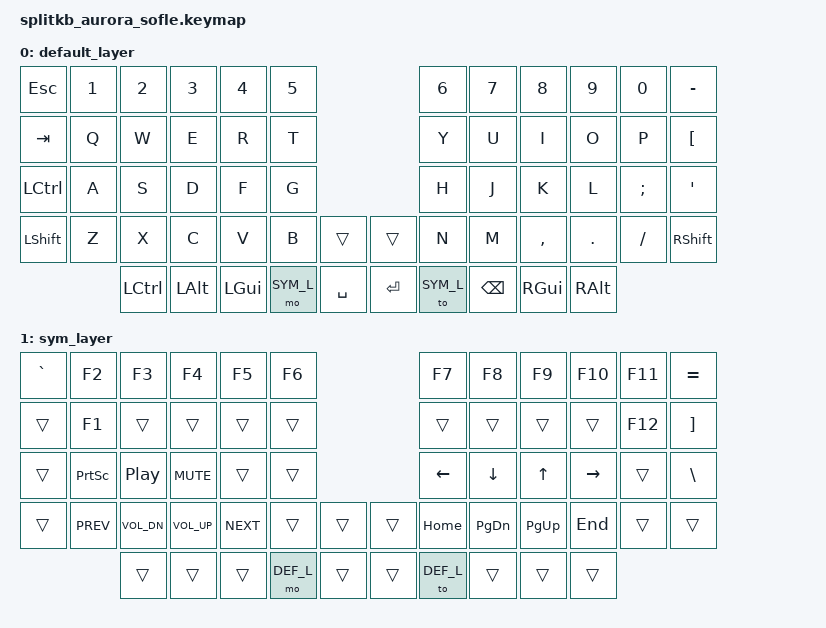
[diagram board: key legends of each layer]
/*
 * Copyright (c) 2023 The ZMK Contributors
 *
 * SPDX-License-Identifier: MIT
 */

#include <behaviors.dtsi>
#include <dt-bindings/zmk/keys.h>
// #include <dt-bindings/zmk/bt.h>
// #include <dt-bindings/zmk/ext_power.h>

/* Uncomment this block if using RGB
&led_strip {
    chain-length = <6>;
    // chain-length = <35>; // Uncomment if using both per-key and underglow LEDs
    // chain-length = <29>; // Uncomment if using only per-key LEDs.
};
 */

#define DEF_L 0
#define SYM_L 1

/ {
    // cond_layers {
    //     compatible = "zmk,conditional-layers";
    //     tri {
    //       if-layers = <NUM_L SYM_L>;
    //       then-layer = <MED_L>;
    //     };
    // };

    keymap {
        compatible = "zmk,keymap";

        default_layer {
// ------------------------------------------------------------------------------------------------------------
// |  ESC  |  1  |  2  |  3   |  4   |  5    |                   |  6    |  7    |  8    |  9   |   0   |   -   |
// |  TAB  |  Q  |  W  |  E   |  R   |  T    |                   |  Y    |  U    |  I    |  O   |   P   |   [   |
// |  CTRL |  A  |  S  |  D   |  F   |  G    |                   |  H    |  J    |  K    |  L   |   ;   |   '   |
// | SHIFT |  Z  |  X  |  C   |  V   |  B    |        |  |       |  N    |  M    |  ,    |  .   |   /   | SHIFT |
//               |CTRL | ALT  | GUI  | SYM_L |  SPACE |  | ENTER | SYM_L | BSPC  | GUI   | RALT |
            bindings = <
&kp ESC   &kp N1 &kp N2    &kp N3   &kp N4   &kp N5                         &kp N6      &kp N7    &kp N8    &kp N9   &kp N0   &kp MINUS
&kp TAB   &kp Q  &kp W     &kp E    &kp R    &kp T                          &kp Y       &kp U     &kp I     &kp O    &kp P    &kp LEFT_BRACKET 
&kp LCTRL &kp A  &kp S     &kp D    &kp F    &kp G                          &kp H       &kp J     &kp K     &kp L    &kp SEMI &kp SQT
&kp LSHFT &kp Z  &kp X     &kp C    &kp V    &kp B      &trans     &trans   &kp N       &kp M     &kp COMMA &kp DOT  &kp FSLH &kp RSHFT
                 &kp LCTRL &kp LALT &kp LGUI &mo SYM_L  &kp SPACE  &kp RET  &to SYM_L   &kp BSPC  &kp RGUI  &kp RALT
            >;

            // sensor-bindings = <&inc_dec_kp C_VOL_UP C_VOL_DN>;
        };

        sym_layer {
// ------------------------------------------------------------------------------------------------------------
// |   `   |  F2  |   F3  |  F4   |  F5  |  F6  |                   |  F7  |  F8   |  F9   |  F10 |  F11  |   =   |
// |       |  F1  | BTCLR | BT1   | BT2  |  BT3 |                   |      |       |       |      |  F12  |   ]   |
// |       | PSCRN| PLAY  | MUTE  |      |      |                   |  ←   |   ↓   |   ↑   |  →   |       |   \   |
// |       | PREV | VOL_DN| VOL_UP| NEXT |      |        |  |       | HOME | PG_DN | PG_UP | END  |       |       |
//                |       |       |      |      |        |  |       |      |       |       |      |
            bindings = <
&kp GRAVE  &kp F2     &kp F3            &kp F4       &kp F5       &kp F6                       &kp F7     &kp F8     &kp F9     &kp F10     &kp F11   &kp EQUAL
// &trans     &kp F1     &bt BT_CLR        &bt BT_SEL 0 &bt BT_SEL 1 &bt BT_SEL 2                 &trans     &trans     &trans     &trans      &kp F12   &kp RIGHT_BRACKET
&trans     &kp F1     &trans            &trans       &trans       &trans                       &trans     &trans     &trans     &trans      &kp F12   &kp RIGHT_BRACKET
&trans     &kp PSCRN  &kp C_PLAY_PAUSE  &kp C_MUTE   &trans       &trans                       &kp LEFT   &kp DOWN   &kp UP     &kp RIGHT   &trans    &kp BACKSLASH
&trans     &kp C_PREV &kp C_VOL_DN      &kp C_VOL_UP &kp C_NEXT   &trans       &trans &trans   &kp HOME   &kp PG_DN  &kp PG_UP  &kp END     &trans    &trans
                      &trans            &trans       &trans       &mo DEF_L    &trans &trans   &to DEF_L  &trans     &trans     &trans
            >;

            // sensor-bindings = <&inc_dec_kp C_VOL_UP C_VOL_DN>;
        };
    };
};

